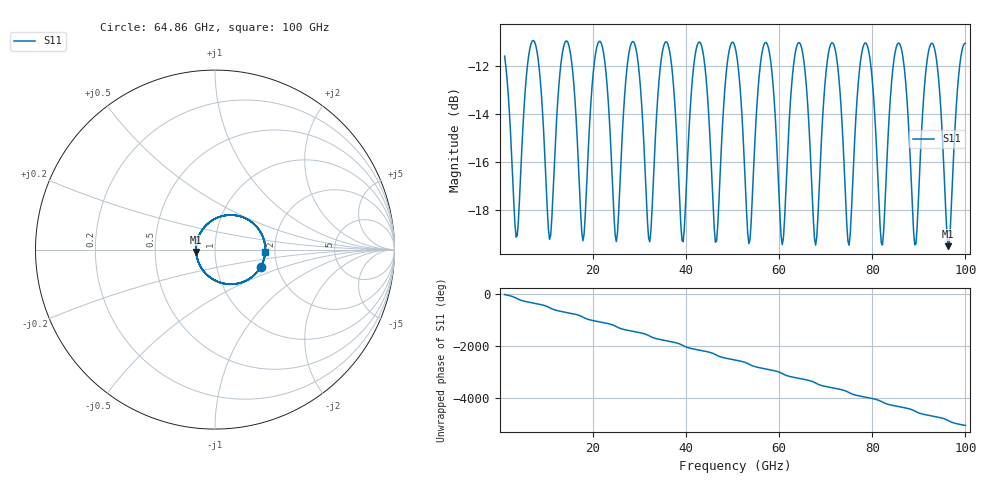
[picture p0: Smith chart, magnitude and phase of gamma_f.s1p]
!Created with skrf (http://scikit-rf.org).
# GHz S RI R 50.0
!freq ReS11 ImS11
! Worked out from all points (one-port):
!   401 points, 1 GHz to 100 GHz, reference 50 ohm
!   lowest |S11| = -19.5 dB at 96.29 GHz (marker M1), VSWR 1.24, Z = 40.5 - j1.07 ohm
!   |S11| at or under -10 dB: start of sweep to end of sweep
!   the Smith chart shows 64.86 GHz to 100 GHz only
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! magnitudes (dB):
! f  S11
! 1 GHz  -11.6
! 3.475 GHz  -19.1
! 7.683 GHz  -11.1
! 10.65 GHz  -19.2
! 13.38 GHz  -11.5
! 17.83 GHz  -19.3
! 25.75 GHz  -17.1
! 28.47 GHz  -11.0
! 31.94 GHz  -19.2
! 35.4 GHz  -11.0
! 38.12 GHz  -15.5
! 43.08 GHz  -11.0
! 46.54 GHz  -19.3
! 50.5 GHz  -11.2
! 53.47 GHz  -19.4
! 56.69 GHz  -11.1
! 60.65 GHz  -19.4
! 62.88 GHz  -12.3
! 67.83 GHz  -19.5
! 71.78 GHz  -11.1
! 75.25 GHz  -19.0
! 78.22 GHz  -11.1
! 81.93 GHz  -19.4
! 87.62 GHz  -13.9
! 89.36 GHz  -19.4
! 93.32 GHz  -11.2
! 96.29 GHz  -19.5
! 100 GHz  -11.0
